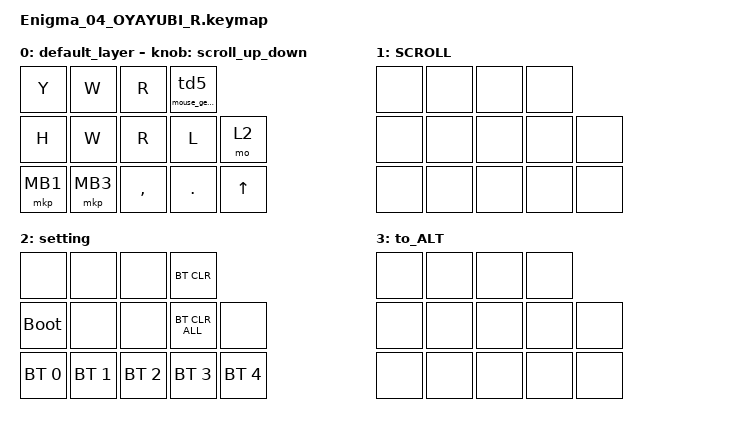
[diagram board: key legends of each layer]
#include <input/processors.dtsi>
#include <dt-bindings/zmk/input_transform.h>
#include <zephyr/dt-bindings/input/input-event-codes.h>
#include <mouse-gesture.dtsi>
#include <scroll-snap.dtsi>
#include <behaviors.dtsi>
#include <dt-bindings/zmk/bt.h>
#include <dt-bindings/zmk/keys.h>
#include <dt-bindings/zmk/mouse.h>
#include <dt-bindings/zmk/pointing.h>

#undef ZMK_POINTING_DEFAULT_SCRL_VAL
#define ZMK_POINTING_DEFAULT_SCRL_VAL 100

&trackball {
    cpi = <600>;
    swap-xy;
};

// mouse-gesture
&zip_mouse_gesture {
    stroke-size = <300>; // Optional (default: 500)
    enable-eager-mode; // Optional, but recommended
    history_back {
        pattern = <GESTURE_RIGHT>;
        bindings = <&kp LA(LEFT)>;
    };

    history_forward {
        pattern = <GESTURE_LEFT>;
        bindings = <&kp LA(RIGHT)>;
    };

    close_tab {
        pattern = <GESTURE_DOWN GESTURE_RIGHT>;
        bindings = <&kp LC(W)>;
    };

    new_tab {
        pattern = <GESTURE_DOWN GESTURE_LEFT>;
        bindings = <&kp LC(T)>;
        wait-ms = <20>;  // Optional: wait time between behaviors (default: CONFIG_ZMK_MACRO_DEFAULT_WAIT_MS)
        tap-ms = <40>;   // Optional: press duration for each behavior (default: CONFIG_ZMK_MACRO_DEFAULT_TAP_MS)
    };
};

// auto-mouse
&zip_temp_layer { require-prior-idle-ms = <200>; };

// auto-mouse
&mkp_input_listener {
    input-processors = <
        &zip_temp_layer 3 10000
    >;
};

&trackball_listener {
    // mouse-gesture
    input-processors = <
        &zip_mouse_gesture
    >;

    // auto-mouse
    auto-mouse-layer {
        layers = <1>;
        input-processors = <
            &zip_temp_layer 3 10000
        >;

        process-next;
    };

    // scroll-snap
    scroller {
        layers = <2>;
        input-processors = <
          &zip_xy_to_scroll_mapper
          &zip_scroll_snap
        >;

        process-next;
    };
};

/ {
    // zmk-listeners

    layer_listeners {
        compatible = "zmk,layer-listeners";

        release_alt {
            layers = <4>;
            bindings = <&kt_on LEFT_ALT &kt_off LEFT_ALT>;
        };
    };

    macros {
        // zmk-listeners

        to_kp: to_kp {
            compatible = "zmk,behavior-macro-two-param";
            #binding-cells = <2>;
            bindings = <&macro_param_1to1 &to MACRO_PLACEHOLDER &macro_param_2to1 &kp MACRO_PLACEHOLDER>;
            label = "to_kp";
        };

        // zmk-listeners

        mo_to_0: mo_to_0 {
            compatible = "zmk,behavior-macro-one-param";
            wait-ms = <0>;
            tap-ms = <0>;
            #binding-cells = <1>;
            bindings =
                <&macro_press>,
                <&macro_param_1to1 &mo MACRO_PLACEHOLDER>,
                <&macro_tap>,
                <&macro_pause_for_release>,
                <&macro_release>,
                <&macro_param_1to1 &mo MACRO_PLACEHOLDER>,
                <&macro_tap>,
                <&to 0>;

            label = "MO_to_0";
        };
    };

    behaviors {
        // Layout shift

        original_key_press: original_key_press {
            compatible = "zmk,behavior-key-press";
            #binding-cells = <1>;
            label = "KEY_PRESS";
        };

        // Layout shift

        kp: key_press {
            compatible = "zmk,behavior-layout-shift-key-press";
            #binding-cells = <1>;
            label = "LAYOUT_SHIFT_KEY_PRESS";
        };

        // zmk-listeners

        kt_on: key_toggle_on_only {
            compatible = "zmk,behavior-key-toggle";
            #binding-cells = <1>;
            display-name = "Key Toggle On";
            toggle-mode = "on";
        };

        // zmk-listeners

        kt_off: key_toggle_off_only {
            compatible = "zmk,behavior-key-toggle";
            #binding-cells = <1>;
            display-name = "Key Toggle Off";
            toggle-mode = "off";
        };

        // zmk-listeners

        lt_to_0: lt_to_0 {
            compatible = "zmk,behavior-hold-tap";
            label = "LT_to_0";
            bindings = <&mo_to_0>, <&kp>;

            #binding-cells = <2>;
            tapping-term-ms = <200>;
            quick-tap-ms = <200>;
            flavor = "balanced";
        };

        scroll_up_down: behavior_sensor_rotate_mouse_wheel_up_down {
            compatible = "zmk,behavior-sensor-rotate";
            #sensor-binding-cells = <0>;
            bindings = <&msc SCRL_UP>, <&msc SCRL_DOWN>;

            tap-ms = <20>;
        };

        td1: tab_ctrl_q {
            compatible = "zmk,behavior-tap-dance";
            label = "tab_ctrl_q";
            #binding-cells = <0>;
            bindings = <&mt LCTRL TAB>, <&kp Q>;
        };

        td2: shift_ctrl {
            compatible = "zmk,behavior-tap-dance";
            label = "shift_ctrl";
            #binding-cells = <0>;
            bindings = <&kp LSHIFT>, <&kp LCTRL>;
        };

        td3: hz_toALT {
            compatible = "zmk,behavior-tap-dance";
            label = "hz_toALT";
            #binding-cells = <0>;
            bindings = <&lt_to_0 4 GRAVE>;
        };

        td4: f7_toALT_f8 {
            compatible = "zmk,behavior-tap-dance";
            label = "f7_toALT_f8";
            #binding-cells = <0>;
            bindings = <&lt_to_0 4 F7>, <&kp F8>;
        };

        td5: mb2_ctrl+w {
            compatible = "zmk,behavior-tap-dance";
            #binding-cells = <0>;
            bindings = <&mkp MB2>, <&kp LC(W)>;

            tapping-term-ms = <250>;
        };

        // mouse-gesture
        td6: gesture_td5 {
            compatible = "zmk,behavior-hold-tap";
            #binding-cells = <2>;
            bindings = <&mouse_gesture>, <&td5>;

            tapping-term-ms = <150>;
            flavor = "balanced";
        };
    };

    combos {
        compatible = "zmk,combos";

        mo {
            bindings = <&mo 2>;
            key-positions = <0 1>;
            layers = <0>;
        };
    };

    keymap {
        compatible = "zmk,keymap";

        default_layer {
            bindings = <
&kp Y     &kp W     &kp R      &td6 0 0
&kp H     &kp W     &kp R      &kp L     &mo 2
&mkp MB1  &mkp MB3  &kp COMMA  &kp DOT   &kp UP_ARROW
            >;

            sensor-bindings = <&scroll_up_down>;
        };

        SCROLL {
            bindings = <
&none  &none  &none  &none
&none  &none  &none  &none  &none
&none  &none  &none  &none  &none
            >;
        };

        setting {
            bindings = <
&none         &none         &none         &bt BT_CLR
&bootloader   &none         &none         &bt BT_CLR_ALL  &none
&bt BT_SEL 0  &bt BT_SEL 1  &bt BT_SEL 2  &bt BT_SEL 3    &bt BT_SEL 4
            >;
        };

        to_ALT {
            bindings = <
&none  &none  &none  &none
&none  &none  &none  &none  &none
&none  &none  &none  &none  &none
            >;
        };
    };
};
